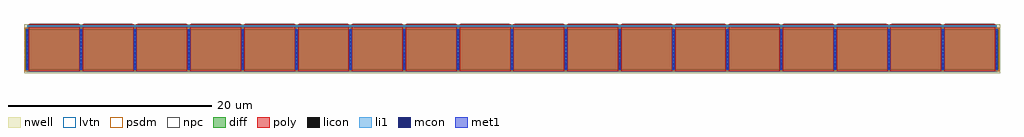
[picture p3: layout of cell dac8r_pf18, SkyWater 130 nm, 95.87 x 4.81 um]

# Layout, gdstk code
import gdstk
lib = gdstk.Library(unit=1e-6, precision=1e-09)
def R(c, l, rs):  # rectangles x0, y0, x1, y1
    for r in rs: c.add(gdstk.rectangle(r[:2], r[2:], *l))
def A(c, l, x, y, w, h, nx, ny, dx, dy):  # array of equal rectangles
    R(c, l, [(x+i*dx, y+j*dy, x+i*dx+w, y+j*dy+h) for i in range(nx) for j in range(ny)])
nwell = (64, 20)
diff = (65, 20)
poly = (66, 20)
licon = (66, 44)
li1 = (67, 20)
mcon = (67, 44)
met1 = (68, 20)
psdm = (94, 20)
npc = (95, 20)
lvtn = (125, 44)

dac8r_pf18 = lib.new_cell('dac8r_pf18')
R(dac8r_pf18, nwell, [(-47.935,-2.49,47.935,2.32)])
R(dac8r_pf18, diff, [(-47.755,-2.18,47.755,1.82)])
A(dac8r_pf18, poly, -47.465, -2.31, 5, 4.615, 18, 1, 5.29, 0)
A(dac8r_pf18, licon, -47.695, -1.965, 0.17, 0.17, 19, 11, 5.29, 0.34)
A(dac8r_pf18, licon, -47.26, 2.055, 0.17, 0.17, 14, 1, 0.34, 0)
A(dac8r_pf18, licon, -41.97, 2.055, 0.17, 0.17, 14, 1, 0.34, 0)
A(dac8r_pf18, licon, -36.68, 2.055, 0.17, 0.17, 14, 1, 0.34, 0)
A(dac8r_pf18, licon, -31.39, 2.055, 0.17, 0.17, 14, 1, 0.34, 0)
A(dac8r_pf18, licon, -26.1, 2.055, 0.17, 0.17, 14, 1, 0.34, 0)
A(dac8r_pf18, licon, -20.81, 2.055, 0.17, 0.17, 14, 1, 0.34, 0)
A(dac8r_pf18, licon, -15.52, 2.055, 0.17, 0.17, 14, 1, 0.34, 0)
A(dac8r_pf18, licon, -10.23, 2.055, 0.17, 0.17, 14, 1, 0.34, 0)
A(dac8r_pf18, licon, -4.94, 2.055, 0.17, 0.17, 14, 1, 0.34, 0)
A(dac8r_pf18, licon, 0.35, 2.055, 0.17, 0.17, 14, 1, 0.34, 0)
A(dac8r_pf18, licon, 5.64, 2.055, 0.17, 0.17, 14, 1, 0.34, 0)
A(dac8r_pf18, licon, 10.93, 2.055, 0.17, 0.17, 14, 1, 0.34, 0)
A(dac8r_pf18, licon, 16.22, 2.055, 0.17, 0.17, 14, 1, 0.34, 0)
A(dac8r_pf18, licon, 21.51, 2.055, 0.17, 0.17, 14, 1, 0.34, 0)
A(dac8r_pf18, licon, 26.8, 2.055, 0.17, 0.17, 14, 1, 0.34, 0)
A(dac8r_pf18, licon, 32.09, 2.055, 0.17, 0.17, 14, 1, 0.34, 0)
A(dac8r_pf18, licon, 37.38, 2.055, 0.17, 0.17, 14, 1, 0.34, 0)
A(dac8r_pf18, licon, 42.67, 2.055, 0.17, 0.17, 14, 1, 0.34, 0)
A(dac8r_pf18, li1, -47.695, -2.2, 0.17, 4.04, 19, 1, 5.29, 0)
R(dac8r_pf18, li1, [(-47.61,2.055,47.61,2.225)])
A(dac8r_pf18, mcon, -47.695, -2.065, 0.17, 0.17, 19, 11, 5.29, 0.36)
A(dac8r_pf18, met1, -47.725, -2.18, 0.23, 4, 19, 1, 5.29, 0)
R(dac8r_pf18, psdm, [(-47.88,-2.305,47.88,1.945)])
A(dac8r_pf18, npc, -47.36, 1.955, 4.79, 0.37, 18, 1, 5.29, 0)
R(dac8r_pf18, lvtn, [(-47.645,-2.36,47.645,2)])

lib.write_gds('dac8r_pf18.gds')
